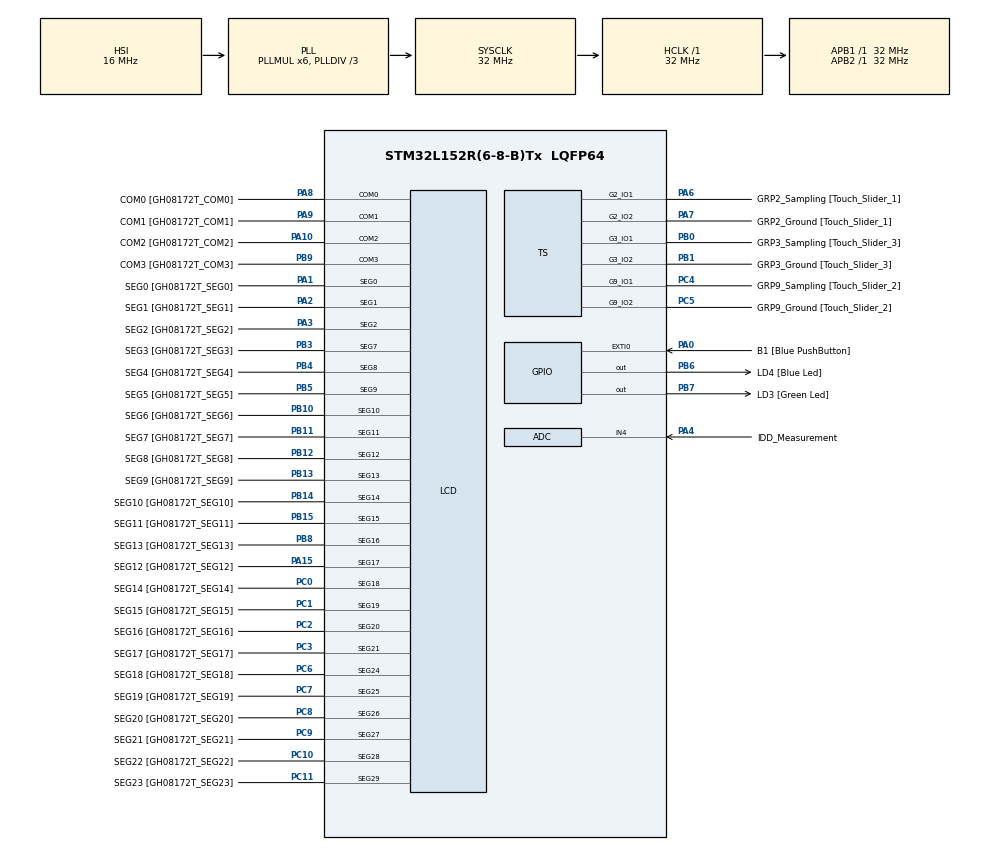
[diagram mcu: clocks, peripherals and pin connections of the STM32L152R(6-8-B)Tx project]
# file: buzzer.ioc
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ADC.Channel=ADC_CHANNEL_4
ADC.Channel-0\#ChannelRegularConversion=ADC_CHANNEL_4
ADC.Channel-IN4=ADC_CHANNEL_4
ADC.ExternalTrigConv=ADC_EXTERNALTRIGCONV_T2_CC3
ADC.ExternalTrigConv-0\#ChannelRegularConversion=ADC_SOFTWARE_START
ADC.ExternalTrigConvEdge=ADC_EXTERNALTRIGCONVEDGE_RISING
ADC.Rank-0\#ChannelRegularConversion=1
ADC.SamplingTime-0\#ChannelRegularConversion=ADC_SAMPLETIME_4CYCLES
Mcu.Family=STM32L1
Mcu.Name=STM32L152R(6-8-B)Tx
Mcu.Package=LQFP64
NVIC.PriorityGroup=NVIC_PRIORITYGROUP_0
PA0-WKUP1.GPIO_Label=B1 [Blue PushButton]
PA0-WKUP1.GPIO_ModeDefaultEXTI=GPIO_MODE_EVT_RISING
PA0-WKUP1.GPIO_PuPd=GPIO_NOPULL
PA0-WKUP1.Signal=GPXTI0
PA1.GPIO_Label=SEG0 [GH08172T_SEG0]
PA1.GPIO_Mode=GPIO_MODE_AF_PP
PA1.GPIO_PuPd=GPIO_NOPULL
PA1.GPIO_Speed=GPIO_SPEED_FREQ_LOW
PA1.Mode=SEG0
PA1.Signal=LCD_SEG0
PA10.GPIO_Label=COM2 [GH08172T_COM2]
PA10.GPIO_Mode=GPIO_MODE_AF_PP
PA10.GPIO_PuPd=GPIO_NOPULL
PA10.GPIO_Speed=GPIO_SPEED_FREQ_LOW
PA10.Mode=1/4 Duty Cycle
PA10.Signal=LCD_COM2
PA13.GPIO_Label=SWDIO
PA13.Mode=Serial_Wire
PA13.Signal=SYS_JTMS-SWDIO
PA14.GPIO_Label=SWCLK
PA14.Mode=Serial_Wire
PA14.Signal=SYS_JTCK-SWCLK
PA15.GPIO_Label=SEG12 [GH08172T_SEG12]
PA15.GPIO_Mode=GPIO_MODE_AF_PP
PA15.GPIO_PuPd=GPIO_NOPULL
PA15.GPIO_Speed=GPIO_SPEED_FREQ_LOW
PA15.Mode=SEG17
PA15.Signal=LCD_SEG17
PA2.GPIO_Label=SEG1 [GH08172T_SEG1]
PA2.GPIO_Mode=GPIO_MODE_AF_PP
PA2.GPIO_PuPd=GPIO_NOPULL
PA2.GPIO_Speed=GPIO_SPEED_FREQ_LOW
PA2.Mode=SEG1
PA2.Signal=LCD_SEG1
PA3.GPIO_Label=SEG2 [GH08172T_SEG2]
PA3.GPIO_Mode=GPIO_MODE_AF_PP
PA3.GPIO_PuPd=GPIO_NOPULL
PA3.GPIO_Speed=GPIO_SPEED_FREQ_LOW
PA3.Mode=SEG2
PA3.Signal=LCD_SEG2
PA4.GPIO_Label=IDD_Measurement
PA4.GPIO_Mode=GPIO_MODE_ANALOG
PA4.GPIO_PuPd=GPIO_NOPULL
PA4.Mode=IN4
PA4.Signal=ADC_IN4
PA6.GPIO_Label=GRP2_Sampling [Touch_Slider_1]
PA6.Mode=G2_IO1-Sampling
PA6.Signal=TS_G2_IO1
PA7.GPIO_Label=GRP2_Ground [Touch_Slider_1]
PA7.Mode=G2_IO2-Channel
PA7.Signal=TS_G2_IO2
PA8.GPIO_Label=COM0 [GH08172T_COM0]
PA8.GPIO_Mode=GPIO_MODE_AF_PP
PA8.GPIO_PuPd=GPIO_NOPULL
PA8.GPIO_Speed=GPIO_SPEED_FREQ_LOW
PA8.Mode=1/4 Duty Cycle
PA8.Signal=LCD_COM0
PA9.GPIO_Label=COM1 [GH08172T_COM1]
PA9.GPIO_Mode=GPIO_MODE_AF_PP
PA9.GPIO_PuPd=GPIO_NOPULL
PA9.GPIO_Speed=GPIO_SPEED_FREQ_LOW
PA9.Mode=1/4 Duty Cycle
PA9.Signal=LCD_COM1
PB0.GPIO_Label=GRP3_Sampling [Touch_Slider_3]
PB0.Mode=G3_IO1-Sampling
PB0.Signal=TS_G3_IO1
PB1.GPIO_Label=GRP3_Ground [Touch_Slider_3]
PB1.Mode=G3_IO2-Channel
PB1.Signal=TS_G3_IO2
PB10.GPIO_Label=SEG6 [GH08172T_SEG6]
PB10.GPIO_Mode=GPIO_MODE_AF_PP
PB10.GPIO_PuPd=GPIO_NOPULL
PB10.GPIO_Speed=GPIO_SPEED_FREQ_LOW
PB10.Mode=SEG10
PB10.Signal=LCD_SEG10
PB11.GPIO_Label=SEG7 [GH08172T_SEG7]
PB11.GPIO_Mode=GPIO_MODE_AF_PP
PB11.GPIO_PuPd=GPIO_NOPULL
PB11.GPIO_Speed=GPIO_SPEED_FREQ_LOW
PB11.Mode=SEG11
PB11.Signal=LCD_SEG11
PB12.GPIO_Label=SEG8 [GH08172T_SEG8]
PB12.GPIO_Mode=GPIO_MODE_AF_PP
PB12.GPIO_PuPd=GPIO_NOPULL
PB12.GPIO_Speed=GPIO_SPEED_FREQ_LOW
PB12.Mode=SEG12
PB12.Signal=LCD_SEG12
PB13.GPIO_Label=SEG9 [GH08172T_SEG9]
PB13.GPIO_Mode=GPIO_MODE_AF_PP
PB13.GPIO_PuPd=GPIO_NOPULL
PB13.GPIO_Speed=GPIO_SPEED_FREQ_LOW
PB13.Mode=SEG13
PB13.Signal=LCD_SEG13
PB14.GPIO_Label=SEG10 [GH08172T_SEG10]
PB14.GPIO_Mode=GPIO_MODE_AF_PP
PB14.GPIO_PuPd=GPIO_NOPULL
PB14.GPIO_Speed=GPIO_SPEED_FREQ_LOW
PB14.Mode=SEG14
PB14.Signal=LCD_SEG14
PB15.GPIO_Label=SEG11 [GH08172T_SEG11]
PB15.GPIO_Mode=GPIO_MODE_AF_PP
PB15.GPIO_PuPd=GPIO_NOPULL
PB15.GPIO_Speed=GPIO_SPEED_FREQ_LOW
PB15.Mode=SEG15
PB15.Signal=LCD_SEG15
PB3.GPIO_Label=SEG3 [GH08172T_SEG3]
PB3.GPIO_Mode=GPIO_MODE_AF_PP
PB3.GPIO_PuPd=GPIO_NOPULL
PB3.GPIO_Speed=GPIO_SPEED_FREQ_LOW
PB3.Mode=SEG7
PB3.Signal=LCD_SEG7
PB4.GPIO_Label=SEG4 [GH08172T_SEG4]
PB4.GPIO_Mode=GPIO_MODE_AF_PP
PB4.GPIO_PuPd=GPIO_NOPULL
PB4.GPIO_Speed=GPIO_SPEED_FREQ_LOW
PB4.Mode=SEG8
PB4.Signal=LCD_SEG8
PB5.GPIO_Label=SEG5 [GH08172T_SEG5]
PB5.GPIO_Mode=GPIO_MODE_AF_PP
PB5.GPIO_PuPd=GPIO_NOPULL
PB5.GPIO_Speed=GPIO_SPEED_FREQ_LOW
PB5.Mode=SEG9
PB5.Signal=LCD_SEG9
PB6.GPIO_Label=LD4 [Blue Led]
PB6.GPIO_ModeDefaultOutputPP=GPIO_MODE_OUTPUT_PP
PB6.GPIO_PuPd=GPIO_NOPULL
PB6.GPIO_Speed=GPIO_SPEED_FREQ_LOW
PB6.Signal=GPIO_Output
PB7.GPIO_Label=LD3 [Green Led]
PB7.GPIO_ModeDefaultOutputPP=GPIO_MODE_OUTPUT_PP
PB7.GPIO_PuPd=GPIO_NOPULL
PB7.GPIO_Speed=GPIO_SPEED_FREQ_LOW
PB7.Signal=GPIO_Output
PB8.GPIO_Label=SEG13 [GH08172T_SEG13]
PB8.GPIO_Mode=GPIO_MODE_AF_PP
PB8.GPIO_PuPd=GPIO_NOPULL
PB8.GPIO_Speed=GPIO_SPEED_FREQ_LOW
PB8.Mode=SEG16
PB8.Signal=LCD_SEG16
PB9.GPIO_Label=COM3 [GH08172T_COM3]
PB9.GPIO_Mode=GPIO_MODE_AF_PP
PB9.GPIO_PuPd=GPIO_NOPULL
PB9.GPIO_Speed=GPIO_SPEED_FREQ_LOW
PB9.Mode=1/4 Duty Cycle
PB9.Signal=LCD_COM3
PC0.GPIO_Label=SEG14 [GH08172T_SEG14]
PC0.GPIO_Mode=GPIO_MODE_AF_PP
PC0.GPIO_PuPd=GPIO_NOPULL
PC0.GPIO_Speed=GPIO_SPEED_FREQ_LOW
PC0.Mode=SEG18
PC0.Signal=LCD_SEG18
PC1.GPIO_Label=SEG15 [GH08172T_SEG15]
PC1.GPIO_Mode=GPIO_MODE_AF_PP
PC1.GPIO_PuPd=GPIO_NOPULL
PC1.GPIO_Speed=GPIO_SPEED_FREQ_LOW
PC1.Mode=SEG19
PC1.Signal=LCD_SEG19
PC10.GPIO_Label=SEG22 [GH08172T_SEG22]
PC10.GPIO_Mode=GPIO_MODE_AF_PP
PC10.GPIO_PuPd=GPIO_NOPULL
PC10.GPIO_Speed=GPIO_SPEED_FREQ_LOW
PC10.Mode=SEG28
PC10.Signal=LCD_SEG28
PC11.GPIO_Label=SEG23 [GH08172T_SEG23]
PC11.GPIO_Mode=GPIO_MODE_AF_PP
PC11.GPIO_PuPd=GPIO_NOPULL
PC11.GPIO_Speed=GPIO_SPEED_FREQ_LOW
PC11.Mode=SEG29
PC11.Signal=LCD_SEG29
PC14-OSC32_IN.GPIO_Label=PC14-OSC32_IN
PC14-OSC32_IN.Mode=LSE-External-Oscillator
PC14-OSC32_IN.Signal=RCC_OSC32_IN
PC15-OSC32_OUT.GPIO_Label=PC15-OSC32_OUT
PC15-OSC32_OUT.Mode=LSE-External-Oscillator
PC15-OSC32_OUT.Signal=RCC_OSC32_OUT
PC2.GPIO_Label=SEG16 [GH08172T_SEG16]
PC2.GPIO_Mode=GPIO_MODE_AF_PP
PC2.GPIO_PuPd=GPIO_NOPULL
PC2.GPIO_Speed=GPIO_SPEED_FREQ_LOW
PC2.Mode=SEG20
PC2.Signal=LCD_SEG20
PC3.GPIO_Label=SEG17 [GH08172T_SEG17]
PC3.GPIO_Mode=GPIO_MODE_AF_PP
PC3.GPIO_PuPd=GPIO_NOPULL
PC3.GPIO_Speed=GPIO_SPEED_FREQ_LOW
PC3.Mode=SEG21
PC3.Signal=LCD_SEG21
PC4.GPIO_Label=GRP9_Sampling [Touch_Slider_2]
PC4.Mode=G9_IO1-Sampling
PC4.Signal=TS_G9_IO1
PC5.GPIO_Label=GRP9_Ground [Touch_Slider_2]
PC5.Mode=G9_IO2-Channel
PC5.Signal=TS_G9_IO2
PC6.GPIO_Label=SEG18 [GH08172T_SEG18]
PC6.GPIO_Mode=GPIO_MODE_AF_PP
PC6.GPIO_PuPd=GPIO_NOPULL
PC6.GPIO_Speed=GPIO_SPEED_FREQ_LOW
PC6.Mode=SEG24
PC6.Signal=LCD_SEG24
PC7.GPIO_Label=SEG19 [GH08172T_SEG19]
PC7.GPIO_Mode=GPIO_MODE_AF_PP
PC7.GPIO_PuPd=GPIO_NOPULL
PC7.GPIO_Speed=GPIO_SPEED_FREQ_LOW
PC7.Mode=SEG25
PC7.Signal=LCD_SEG25
PC8.GPIO_Label=SEG20 [GH08172T_SEG20]
PC8.GPIO_Mode=GPIO_MODE_AF_PP
PC8.GPIO_PuPd=GPIO_NOPULL
PC8.GPIO_Speed=GPIO_SPEED_FREQ_LOW
PC8.Mode=SEG26
PC8.Signal=LCD_SEG26
PC9.GPIO_Label=SEG21 [GH08172T_SEG21]
PC9.GPIO_Mode=GPIO_MODE_AF_PP
PC9.GPIO_PuPd=GPIO_NOPULL
PC9.GPIO_Speed=GPIO_SPEED_FREQ_LOW
PC9.Mode=SEG27
PC9.Signal=LCD_SEG27
ProjectManager.HeapSize=0x200
ProjectManager.StackSize=0x400
ProjectManager.TargetToolchain=STM32CubeIDE
RCC.48MHZClocksFreq_Value=48000000
RCC.AHBFreq_Value=32000000
RCC.APB1Freq_Value=32000000
RCC.APB1TimFreq_Value=32000000
RCC.APB2Freq_Value=32000000
RCC.APB2TimFreq_Value=32000000
RCC.HCLKFreq_Value=32000000
RCC.HSE_VALUE=8000000
RCC.HSI_VALUE=16000000
RCC.MSI_VALUE=2097000
RCC.PLLDIV=RCC_PLL_DIV3
RCC.PLLMUL=RCC_PLL_MUL6
RCC.RTCClockSelectionVirtual=RCC_RTCCLKSOURCE_LSE
RCC.SYSCLKFreq_VALUE=32000000
RCC.SYSCLKSource=RCC_SYSCLKSOURCE_PLLCLK
RCC.USBOutput=48000000
RCC.VCOOutputFreq_Value=96000000
VP_TIM4_VS_ClockSourceINT.Mode=Internal
board=STM32L-DISCOVERY

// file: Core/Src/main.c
/* USER CODE BEGIN Header */
/**
  ******************************************************************************
  * @file           : main.c
  * @brief          : Main program body
  ******************************************************************************
  * @attention
  *
  * Copyright (c) 2024 STMicroelectronics.
  * All rights reserved.
  *
  * This software is licensed under terms that can be found in the LICENSE file
  * in the root directory of this software component.
  * If no LICENSE file comes with this software, it is provided AS-IS.
  *
  ******************************************************************************
  */
/* USER CODE END Header */
#include "main.h"
#include "stm32l152c_discovery.h"

/* USER CODE BEGIN PD */
#define MOTOR_A_IN1_PIN GPIO_PIN_6 // PC6
#define MOTOR_A_IN2_PIN GPIO_PIN_7 // PC7
#define MOTOR_B_IN3_PIN GPIO_PIN_8 // PC8
#define MOTOR_B_IN4_PIN GPIO_PIN_9 // PC9
#define BUZZER_PIN GPIO_PIN_8 // PB8
/* USER CODE END PD */

ADC_HandleTypeDef hadc;

LCD_HandleTypeDef hlcd;

TIM_HandleTypeDef htim4;

/* USER CODE BEGIN PV */
unsigned char SENSOR_1 = 0; // 0 for white 1 for black
unsigned char SENSOR_2 = 0;
unsigned char state = 0;
unsigned short number = 0;
unsigned short time = 1000;
/* USER CODE END PV */

void SystemClock_Config(void);
static void MX_GPIO_Init(void);
static void MX_ADC_Init(void);
static void MX_LCD_Init(void);
static void MX_TS_Init(void);
static void MX_TIM4_Init(void);

/* USER CODE BEGIN 0 */

void TIM4_IRQHandler(void){
	if((TIM4->SR & (1<<1))!=0){
	if(state == 0){
		state = 1;
	}
	else{
		state = 0;
	}

	TIM4->CCR1 += 250;

	TIM4->SR &= ~(1<<1);
}
}
/* USER CODE END 0 */

int main(void)
{

  /* MCU Configuration--------------------------------------------------------*/

  /* Reset of all peripherals, Initializes the Flash interface and the Systick. */
  HAL_Init();

  /* Configure the system clock */
  SystemClock_Config();

  /* Initialize all configured peripherals */
  MX_GPIO_Init();
  MX_ADC_Init();
  MX_LCD_Init();
  MX_TS_Init();
  MX_TIM4_Init();
  /* USER CODE BEGIN 2 */
  //Configure buzzer
       GPIOB->MODER &= ~(1 << (8 * 2));
       GPIOB->MODER |= (1 << (8 * 2+1));

       //TIMERS
       TIM4->CR1 = 0;
       TIM4->CR2 = 0;
       TIM4->SMCR = 0;

       TIM4->CNT = 0;
       TIM4->PSC = 31999;
       TIM4->ARR = 0xFFFF;
       TIM4->CCR1 = 250;

       TIM4->CCMR1 = 0;
       TIM4->CCMR2 = 0;
       TIM4->CCER = 0;

       TIM4->DIER = (1<<1);

       TIM4->EGR |= 0x0001;
       TIM4->SR = 0;
       TIM4->CR1 |= 0x0001;

       NVIC->ISER[0] |= (1 << 30);

  /* USER CODE END 2 */

  /* Infinite loop */
  while (1)
  {
	  if(state == 1){
		  GPIOB->MODER = (1<<(8*2));
	  }
	  else{
		  GPIOB->MODER = ~(1<<(8*2));
	  }
  }
}

void SystemClock_Config(void)
{
  RCC_OscInitTypeDef RCC_OscInitStruct = {0};
  RCC_ClkInitTypeDef RCC_ClkInitStruct = {0};
  RCC_PeriphCLKInitTypeDef PeriphClkInit = {0};

  /** Configure the main internal regulator output voltage
  */
  __HAL_PWR_VOLTAGESCALING_CONFIG(PWR_REGULATOR_VOLTAGE_SCALE1);

  /** Initializes the RCC Oscillators according to the specified parameters
  * in the RCC_OscInitTypeDef structure.
  */
  RCC_OscInitStruct.OscillatorType = RCC_OSCILLATORTYPE_HSI|RCC_OSCILLATORTYPE_LSE;
  RCC_OscInitStruct.LSEState = RCC_LSE_ON;
  RCC_OscInitStruct.HSIState = RCC_HSI_ON;
  RCC_OscInitStruct.HSICalibrationValue = RCC_HSICALIBRATION_DEFAULT;
  RCC_OscInitStruct.PLL.PLLState = RCC_PLL_ON;
  RCC_OscInitStruct.PLL.PLLSource = RCC_PLLSOURCE_HSI;
  RCC_OscInitStruct.PLL.PLLMUL = RCC_PLL_MUL6;
  RCC_OscInitStruct.PLL.PLLDIV = RCC_PLL_DIV3;
  if (HAL_RCC_OscConfig(&RCC_OscInitStruct) != HAL_OK)
  {
    Error_Handler();
  }

  /** Initializes the CPU, AHB and APB buses clocks
  */
  RCC_ClkInitStruct.ClockType = RCC_CLOCKTYPE_HCLK|RCC_CLOCKTYPE_SYSCLK
                              |RCC_CLOCKTYPE_PCLK1|RCC_CLOCKTYPE_PCLK2;
  RCC_ClkInitStruct.SYSCLKSource = RCC_SYSCLKSOURCE_PLLCLK;
  RCC_ClkInitStruct.AHBCLKDivider = RCC_SYSCLK_DIV1;
  RCC_ClkInitStruct.APB1CLKDivider = RCC_HCLK_DIV1;
  RCC_ClkInitStruct.APB2CLKDivider = RCC_HCLK_DIV1;

  if (HAL_RCC_ClockConfig(&RCC_ClkInitStruct, FLASH_LATENCY_1) != HAL_OK)
  {
    Error_Handler();
  }
  PeriphClkInit.PeriphClockSelection = RCC_PERIPHCLK_RTC|RCC_PERIPHCLK_LCD;
  PeriphClkInit.RTCClockSelection = RCC_RTCCLKSOURCE_LSE;
  PeriphClkInit.LCDClockSelection = RCC_RTCCLKSOURCE_LSE;

  if (HAL_RCCEx_PeriphCLKConfig(&PeriphClkInit) != HAL_OK)
  {
    Error_Handler();
  }
}

static void MX_ADC_Init(void)
{

  ADC_ChannelConfTypeDef sConfig = {0};

  /** Configure the global features of the ADC (Clock, Resolution, Data Alignment and number of conversion)
  */
  hadc.Instance = ADC1;
  hadc.Init.ClockPrescaler = ADC_CLOCK_ASYNC_DIV1;
  hadc.Init.Resolution = ADC_RESOLUTION_12B;
  hadc.Init.DataAlign = ADC_DATAALIGN_RIGHT;
  hadc.Init.ScanConvMode = ADC_SCAN_DISABLE;
  hadc.Init.EOCSelection = ADC_EOC_SEQ_CONV;
  hadc.Init.LowPowerAutoWait = ADC_AUTOWAIT_DISABLE;
  hadc.Init.LowPowerAutoPowerOff = ADC_AUTOPOWEROFF_DISABLE;
  hadc.Init.ChannelsBank = ADC_CHANNELS_BANK_A;
  hadc.Init.ContinuousConvMode = DISABLE;
  hadc.Init.NbrOfConversion = 1;
  hadc.Init.DiscontinuousConvMode = DISABLE;
  hadc.Init.ExternalTrigConv = ADC_EXTERNALTRIGCONV_T2_CC3;
  hadc.Init.ExternalTrigConvEdge = ADC_EXTERNALTRIGCONVEDGE_RISING;
  hadc.Init.DMAContinuousRequests = DISABLE;
  if (HAL_ADC_Init(&hadc) != HAL_OK)
  {
    Error_Handler();
  }

  /** Configure for the selected ADC regular channel its corresponding rank in the sequencer and its sample time.
  */
  sConfig.Channel = ADC_CHANNEL_4;
  sConfig.Rank = ADC_REGULAR_RANK_1;
  sConfig.SamplingTime = ADC_SAMPLETIME_4CYCLES;
  if (HAL_ADC_ConfigChannel(&hadc, &sConfig) != HAL_OK)
  {
    Error_Handler();
  }

}

static void MX_LCD_Init(void)
{

  hlcd.Instance = LCD;
  hlcd.Init.Prescaler = LCD_PRESCALER_1;
  hlcd.Init.Divider = LCD_DIVIDER_16;
  hlcd.Init.Duty = LCD_DUTY_1_4;
  hlcd.Init.Bias = LCD_BIAS_1_4;
  hlcd.Init.VoltageSource = LCD_VOLTAGESOURCE_INTERNAL;
  hlcd.Init.Contrast = LCD_CONTRASTLEVEL_0;
  hlcd.Init.DeadTime = LCD_DEADTIME_0;
  hlcd.Init.PulseOnDuration = LCD_PULSEONDURATION_0;
  hlcd.Init.MuxSegment = LCD_MUXSEGMENT_DISABLE;
  hlcd.Init.BlinkMode = LCD_BLINKMODE_OFF;
  hlcd.Init.BlinkFrequency = LCD_BLINKFREQUENCY_DIV8;
  if (HAL_LCD_Init(&hlcd) != HAL_OK)
  {
    Error_Handler();
  }

}

static void MX_TIM4_Init(void)
{

  TIM_ClockConfigTypeDef sClockSourceConfig = {0};
  TIM_MasterConfigTypeDef sMasterConfig = {0};

  htim4.Instance = TIM4;
  htim4.Init.Prescaler = 0;
  htim4.Init.CounterMode = TIM_COUNTERMODE_UP;
  htim4.Init.Period = 65535;
  htim4.Init.ClockDivision = TIM_CLOCKDIVISION_DIV1;
  htim4.Init.AutoReloadPreload = TIM_AUTORELOAD_PRELOAD_DISABLE;
  if (HAL_TIM_Base_Init(&htim4) != HAL_OK)
  {
    Error_Handler();
  }
  sClockSourceConfig.ClockSource = TIM_CLOCKSOURCE_INTERNAL;
  if (HAL_TIM_ConfigClockSource(&htim4, &sClockSourceConfig) != HAL_OK)
  {
    Error_Handler();
  }
  sMasterConfig.MasterOutputTrigger = TIM_TRGO_RESET;
  sMasterConfig.MasterSlaveMode = TIM_MASTERSLAVEMODE_DISABLE;
  if (HAL_TIMEx_MasterConfigSynchronization(&htim4, &sMasterConfig) != HAL_OK)
  {
    Error_Handler();
  }

}

static void MX_TS_Init(void)
{

}

static void MX_GPIO_Init(void)
{
  GPIO_InitTypeDef GPIO_InitStruct = {0};

  /* GPIO Ports Clock Enable */
  __HAL_RCC_GPIOC_CLK_ENABLE();
  __HAL_RCC_GPIOA_CLK_ENABLE();
  __HAL_RCC_GPIOB_CLK_ENABLE();

  /*Configure GPIO pin Output Level */
  HAL_GPIO_WritePin(GPIOB, LD4_Pin|LD3_Pin, GPIO_PIN_RESET);

  /*Configure GPIO pin : B1_Pin */
  GPIO_InitStruct.Pin = B1_Pin;
  GPIO_InitStruct.Mode = GPIO_MODE_EVT_RISING;
  GPIO_InitStruct.Pull = GPIO_NOPULL;
  HAL_GPIO_Init(B1_GPIO_Port, &GPIO_InitStruct);

  /*Configure GPIO pins : LD4_Pin LD3_Pin */
  GPIO_InitStruct.Pin = LD4_Pin|LD3_Pin;
  GPIO_InitStruct.Mode = GPIO_MODE_OUTPUT_PP;
  GPIO_InitStruct.Pull = GPIO_NOPULL;
  GPIO_InitStruct.Speed = GPIO_SPEED_FREQ_LOW;
  HAL_GPIO_Init(GPIOB, &GPIO_InitStruct);

}

void Error_Handler(void)
{
  __disable_irq();
  while (1)
  {
  }
}
